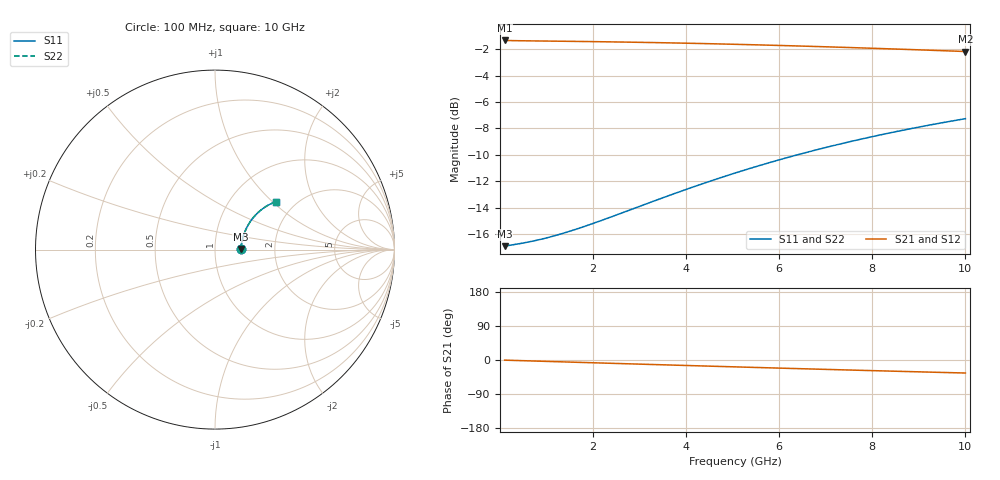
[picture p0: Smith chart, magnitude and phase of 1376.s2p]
# Hz S RI R 50.00
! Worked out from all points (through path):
!   100 points, 100 MHz to 10 GHz, reference 50 ohm
!   highest |S21| = -1.34 dB at 100 MHz (marker M1); lowest = -2.2 dB at 10 GHz (marker M2)
!   group delay of S21, straight-line fit = 9.57 ps
!   lowest |S11| = -16.9 dB at 100 MHz (marker M3), VSWR 1.33, Z = 66.6 + j0.516 ohm
!   |S11| at or under -10 dB: start of sweep to 6.387 GHz
!   |S22| runs from -16.9 to -7.3 dB; largest |S21 - S12| = 0
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1e8  0.1426 0.0038  0.8574 -0.0055  0.8574 -0.0055  0.1426 0.0038
6e8  0.1461 0.0226  0.8538 -0.0328  0.8538 -0.0328  0.1461 0.0226
9e8  0.148 0.0337  0.8518 -0.049  0.8518 -0.049  0.148 0.0337
1.3e9  0.151 0.0485  0.8487 -0.0706  0.8487 -0.0706  0.151 0.0485
1.5e9  0.1527 0.0557  0.847 -0.0813  0.847 -0.0813  0.1527 0.0557
1.8e9  0.1555 0.0666  0.844 -0.0972  0.844 -0.0972  0.1555 0.0666
2.2e9  0.1598 0.0808  0.8394 -0.1182  0.8394 -0.1182  0.1598 0.0808
2.6e9  0.1647 0.0948  0.8342 -0.139  0.8342 -0.139  0.1647 0.0948
3.4e9  0.1765 0.1216  0.8217 -0.1795  0.8217 -0.1795  0.1765 0.1216
3.9e9  0.1851 0.1377  0.8125 -0.2041  0.8125 -0.2041  0.1851 0.1377
4.3e9  0.1926 0.15  0.8045 -0.2233  0.8045 -0.2233  0.1926 0.15
4.7e9  0.2006 0.1619  0.7959 -0.242  0.7959 -0.242  0.2006 0.1619
5.1e9  0.2092 0.1733  0.7868 -0.2602  0.7868 -0.2602  0.2092 0.1733
5.5e9  0.2182 0.1841  0.7771 -0.278  0.7771 -0.278  0.2182 0.1841
5.9e9  0.2276 0.1945  0.7669 -0.2952  0.7669 -0.2952  0.2276 0.1945
6.3e9  0.2375 0.2043  0.7563 -0.3119  0.7563 -0.3119  0.2375 0.2043
6.7e9  0.2477 0.2135  0.7452 -0.328  0.7452 -0.328  0.2477 0.2135
7.5e9  0.2691 0.2302  0.722 -0.3586  0.722 -0.3586  0.2691 0.2302
7.9e9  0.2802 0.2377  0.7099 -0.373  0.7099 -0.373  0.2802 0.2377
8.4e9  0.2943 0.2462  0.6945 -0.3902  0.6945 -0.3902  0.2943 0.2462
9.2e9  0.3176 0.258  0.669 -0.4159  0.669 -0.4159  0.3176 0.258
1e10  0.3412 0.2674  0.6428 -0.4394  0.6428 -0.4394  0.3412 0.2674
